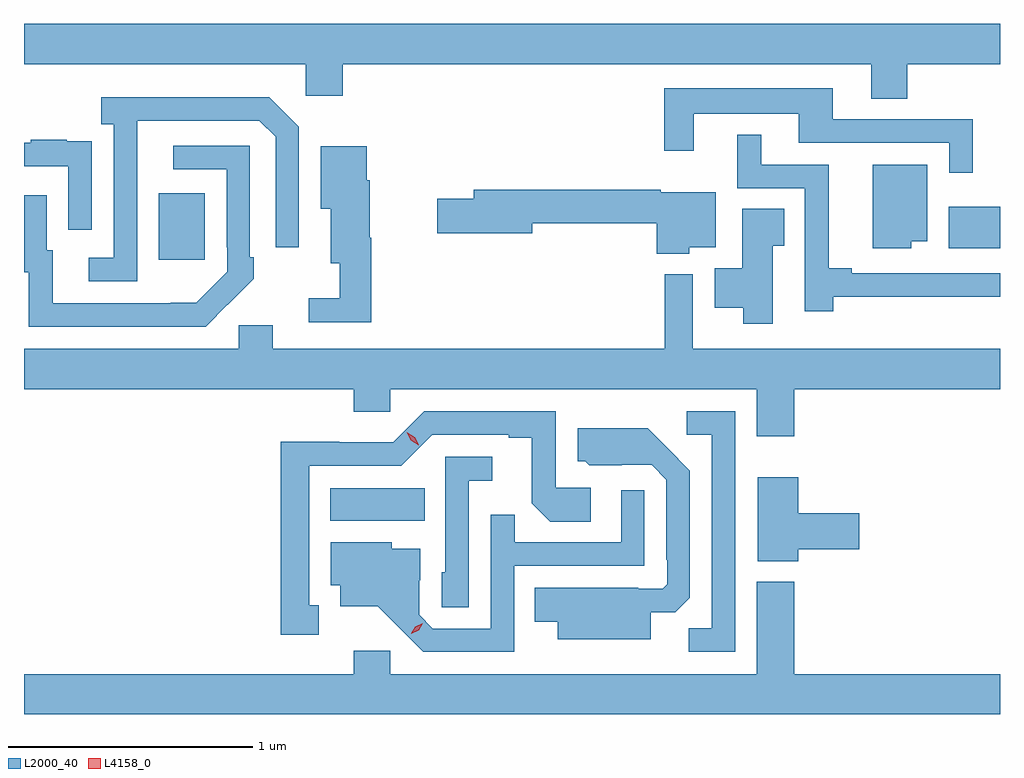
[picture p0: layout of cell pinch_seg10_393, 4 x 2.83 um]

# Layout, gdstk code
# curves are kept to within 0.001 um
import gdstk
lib = gdstk.Library(unit=1e-6, precision=1e-09)
def R(c, l, rs):  # rectangles x0, y0, x1, y1
    for r in rs: c.add(gdstk.rectangle(r[:2], r[2:], *l))
def P(c, l, *ps):  # polygons
    for p in ps: c.add(gdstk.Polygon(p, *l))
L2000_40 = (2000, 40)
L4158_0 = (4158, 0)

pinch_seg10_393 = lib.new_cell('pinch_seg10_393')
R(pinch_seg10_393, L2000_40, [(382.235,1293.116,382.622,1293.25), (381.533,1294.185,381.721,1294.459), (384.77,1294.232,384.98,1294.402)])
P(pinch_seg10_393, L2000_40, [(384.6,1294.988),(384.98,1294.988),(384.98,1295.152),(380.98,1295.152),(380.98,1294.988),(382.134,1294.988),(382.134,1294.857),(382.286,1294.857),(382.286,1294.988),(384.452,1294.988),(384.452,1294.846),(384.6,1294.846)],
  [(384.869,1294.761),(384.295,1294.761),(384.295,1294.888),(383.604,1294.888),(383.604,1294.632),(383.725,1294.632),(383.725,1294.784),(384.155,1294.784),(384.155,1294.665),(384.771,1294.665),(384.771,1294.542),(384.869,1294.542)],
  [(381.444,1294.555),(381.445,1294.755),(381.945,1294.755),(382.011,1294.689),(382.011,1294.236),(382.107,1294.236),(382.107,1294.731),(381.986,1294.852),(381.297,1294.852),(381.297,1294.742),(381.348,1294.742),(381.348,1294.194),(381.246,1294.194),(381.246,1294.098),(381.444,1294.098)],
  [(384.296,1294.034),(384.926,1294.034),(384.926,1294.035),(384.98,1294.035),(384.98,1294.131),(384.373,1294.131),(384.373,1294.151),(384.278,1294.151),(384.278,1294.575),(384.001,1294.575),(384.001,1294.699),(383.903,1294.699),(383.903,1294.479),(384.18,1294.479),(384.18,1293.975),(384.296,1293.975)],
  [(381.258,1294.562),(381.257,1294.562),(381.257,1294.671),(381.155,1294.671),(381.155,1294.678),(381.007,1294.678),(381.007,1294.665),(380.98,1294.665),(380.98,1294.569),(381.162,1294.569),(381.162,1294.308),(381.258,1294.308)],
  [(381.815,1294.003),(381.816,1294.002),(381.921,1294.107),(381.921,1294.195),(381.906,1294.195),(381.906,1294.653),(381.591,1294.653),(381.591,1294.557),(381.81,1294.557),(381.81,1294.237),(381.813,1294.237),(381.813,1294.137),(381.685,1294.009),(381.097,1294.008),(381.097,1294.224),(381.073,1294.224),(381.073,1294.45),(380.98,1294.45),(380.98,1294.134),(381,1294.134),(381,1293.912),(381.724,1293.912)],
  [(382.403,1294.276),(382.396,1294.276),(382.396,1294.512),(382.384,1294.512),(382.384,1294.651),(382.196,1294.651),(382.196,1294.394),(382.238,1294.394),(382.238,1294.172),(382.275,1294.172),(382.275,1294.027),(382.146,1294.027),(382.146,1293.93),(382.403,1293.93)],
  [(384.616,1294.262),(384.682,1294.262),(384.682,1294.576),(384.458,1294.576),(384.458,1294.232),(384.616,1294.232)],
  [(383.706,1294.238),(383.815,1294.238),(383.815,1294.462),(383.589,1294.462),(383.589,1294.472),(382.823,1294.472),(382.823,1294.436),(382.674,1294.436),(382.674,1294.294),(383.062,1294.294),(383.062,1294.336),(383.573,1294.336),(383.573,1294.211),(383.706,1294.211)],
  [(384.049,1294.243),(384.095,1294.243),(384.095,1294.394),(383.924,1294.394),(383.924,1294.15),(383.81,1294.15),(383.81,1293.989),(383.927,1293.989),(383.927,1293.924),(384.049,1293.924)],
  [(384.137,1293.656),(384.98,1293.656),(384.98,1293.82),(383.721,1293.82),(383.721,1294.126),(383.605,1294.126),(383.605,1293.82),(382,1293.82),(382,1293.918),(381.861,1293.918),(381.861,1293.82),(380.98,1293.82),(380.98,1293.656),(382.331,1293.656),(382.331,1293.563),(382.482,1293.563),(382.482,1293.656),(383.984,1293.656),(383.984,1293.462),(384.137,1293.462)],
  [(383.895,1293.564),(383.697,1293.564),(383.697,1293.468),(383.799,1293.468),(383.799,1292.675),(383.704,1292.675),(383.704,1292.58),(383.895,1292.58)],
  [(382.189,1292.769),(382.15,1292.769),(382.15,1293.342),(382.527,1293.342),(382.653,1293.468),(382.967,1293.468),(382.967,1293.456),(383.061,1293.456),(383.061,1293.188),(383.137,1293.112),(383.302,1293.112),(383.302,1293.252),(383.16,1293.252),(383.16,1293.564),(382.62,1293.564),(382.494,1293.438),(382.272,1293.438),(382.272,1293.44),(382.032,1293.44),(382.032,1292.649),(382.189,1292.649)],
  [(383.548,1292.741),(383.65,1292.741),(383.709,1292.8),(383.709,1293.322),(383.537,1293.496),(383.249,1293.496),(383.249,1293.36),(383.28,1293.36),(383.296,1293.344),(383.553,1293.345),(383.613,1293.285),(383.613,1292.956),(383.616,1292.956),(383.616,1292.856),(383.598,1292.838),(383.498,1292.838),(383.498,1292.842),(383.074,1292.842),(383.074,1292.702),(383.168,1292.702),(383.168,1292.63),(383.548,1292.63)],
  [(382.803,1293.281),(382.9,1293.281),(382.9,1293.378),(382.707,1293.378),(382.707,1292.904),(382.692,1292.904),(382.692,1292.761),(382.803,1292.761)],
  [(384.154,1292.999),(384.403,1292.999),(384.403,1293.146),(384.154,1293.146),(384.154,1293.295),(383.987,1293.295),(383.987,1292.951),(384.154,1292.951)],
  [(382.989,1292.931),(383.523,1292.931),(383.523,1293.241),(383.427,1293.241),(383.427,1293.027),(382.991,1293.027),(382.991,1293.14),(382.893,1293.14),(382.893,1292.673),(382.656,1292.673),(382.599,1292.73),(382.599,1292.872),(382.603,1292.872),(382.603,1293.001),(382.488,1293.001),(382.488,1293.028),(382.238,1293.028),(382.238,1292.852),(382.277,1292.852),(382.277,1292.765),(382.429,1292.765),(382.616,1292.58),(382.989,1292.58)],
  [(384.98,1292.488),(384.137,1292.488),(384.137,1292.866),(383.984,1292.866),(383.984,1292.488),(382.482,1292.488),(382.482,1292.584),(382.331,1292.584),(382.331,1292.488),(380.98,1292.488),(380.98,1292.324),(384.98,1292.324)])
P(pinch_seg10_393, L4158_0, [(382.567,1292.653),(382.567,1292.654),(382.584,1292.682),(382.615,1292.697),(382.615,1292.697),(382.615,1292.697),(382.598,1292.668),(382.567,1292.653)],
  [(382.598,1293.426),(382.566,1293.446),(382.549,1293.478),(382.549,1293.479),(382.549,1293.479),(382.581,1293.459),(382.598,1293.427),(382.598,1293.426)])

lib.write_gds('pinch_seg10_393.gds')
